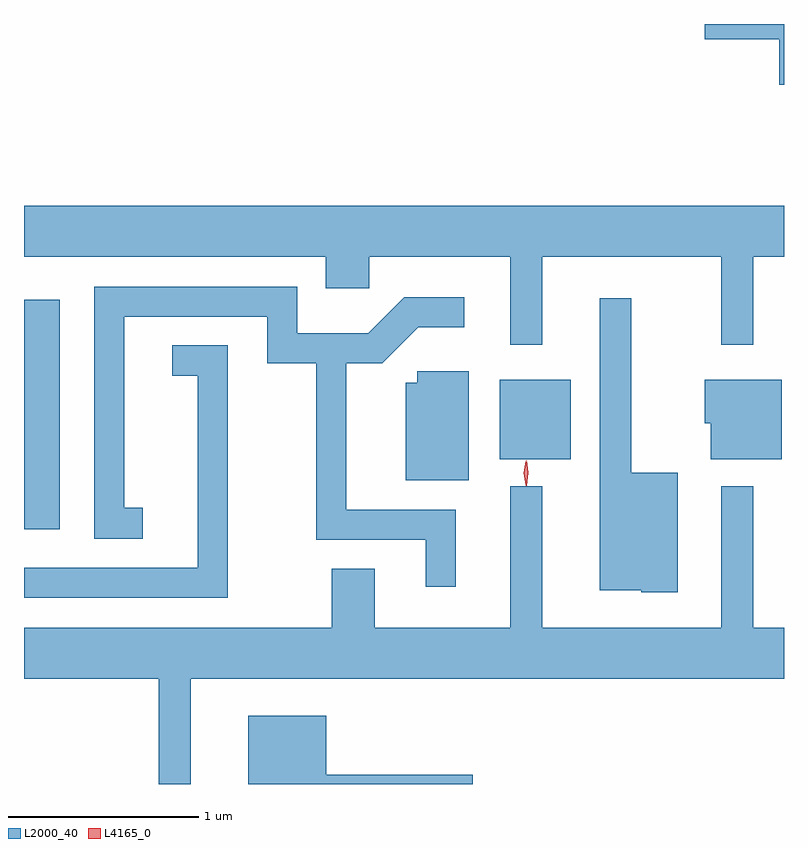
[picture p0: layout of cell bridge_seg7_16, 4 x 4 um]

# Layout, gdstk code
import gdstk
lib = gdstk.Library(unit=1e-6, precision=1e-09)
def R(c, l, rs):  # rectangles x0, y0, x1, y1
    for r in rs: c.add(gdstk.rectangle(r[:2], r[2:], *l))
def P(c, l, *ps):  # polygons
    for p in ps: c.add(gdstk.Polygon(p, *l))
L2000_40 = (2000, 40)
L4165_0 = (4165, 0)

bridge_seg7_16 = lib.new_cell('bridge_seg7_16')
R(bridge_seg7_16, L2000_40, [(1687.612,1737.301,1687.799,1738.509), (1690.116,1737.671,1690.489,1738.089)])
P(bridge_seg7_16, L2000_40, [(1691.612,1739.961),(1691.196,1739.961),(1691.196,1739.881),(1691.586,1739.881),(1691.586,1739.641),(1691.612,1739.641)],
  [(1690.339,1738.736),(1691.281,1738.736),(1691.281,1738.273),(1691.449,1738.273),(1691.449,1738.736),(1691.612,1738.736),(1691.612,1739.004),(1687.612,1739.004),(1687.612,1738.736),(1689.201,1738.736),(1689.201,1738.571),(1689.429,1738.571),(1689.429,1738.736),(1690.171,1738.736),(1690.171,1738.273),(1690.339,1738.273)],
  [(1689.884,1737.404),(1689.309,1737.404),(1689.309,1738.176),(1689.497,1738.176),(1689.687,1738.366),(1689.928,1738.366),(1689.928,1738.524),(1689.614,1738.524),(1689.424,1738.334),(1689.049,1738.334),(1689.049,1738.579),(1687.981,1738.579),(1687.981,1737.251),(1688.238,1737.251),(1688.238,1737.414),(1688.139,1737.414),(1688.139,1738.421),(1688.891,1738.421),(1688.891,1738.176),(1689.151,1738.176),(1689.151,1737.246),(1689.726,1737.246),(1689.726,1736.998),(1689.884,1736.998)],
  [(1691.054,1737.599),(1690.809,1737.599),(1690.809,1738.518),(1690.641,1738.518),(1690.641,1736.981),(1690.86,1736.981),(1690.86,1736.971),(1691.054,1736.971)],
  [(1688.684,1738.269),(1688.393,1738.269),(1688.393,1738.111),(1688.526,1738.111),(1688.526,1737.099),(1687.612,1737.099),(1687.612,1736.941),(1688.684,1736.941)],
  [(1689.954,1738.134),(1689.681,1738.134),(1689.681,1738.074),(1689.621,1738.074),(1689.621,1737.561),(1689.954,1737.561)],
  [(1691.599,1738.089),(1691.196,1738.089),(1691.196,1737.861),(1691.226,1737.861),(1691.226,1737.671),(1691.599,1737.671)],
  [(1688.489,1736.516),(1691.612,1736.516),(1691.612,1736.784),(1691.449,1736.784),(1691.449,1737.528),(1691.281,1737.528),(1691.281,1736.784),(1690.339,1736.784),(1690.339,1737.528),(1690.171,1737.528),(1690.171,1736.784),(1689.459,1736.784),(1689.459,1737.094),(1689.231,1737.094),(1689.231,1736.784),(1687.612,1736.784),(1687.612,1736.516),(1688.321,1736.516),(1688.321,1735.961),(1688.489,1735.961)],
  [(1689.974,1736.009),(1689.204,1736.009),(1689.204,1736.319),(1688.791,1736.319),(1688.791,1735.961),(1689.974,1735.961)])
P(bridge_seg7_16, L4165_0, [(1690.256,1737.53),(1690.256,1737.53),(1690.248,1737.598),(1690.258,1737.666),(1690.259,1737.666),(1690.259,1737.666),(1690.267,1737.598),(1690.257,1737.53)],
  [(1690.253,1737.533),(1690.253,1737.533),(1690.243,1737.598),(1690.253,1737.661),(1690.253,1737.662),(1690.254,1737.661),(1690.263,1737.598),(1690.254,1737.533)])

lib.write_gds('bridge_seg7_16.gds')
